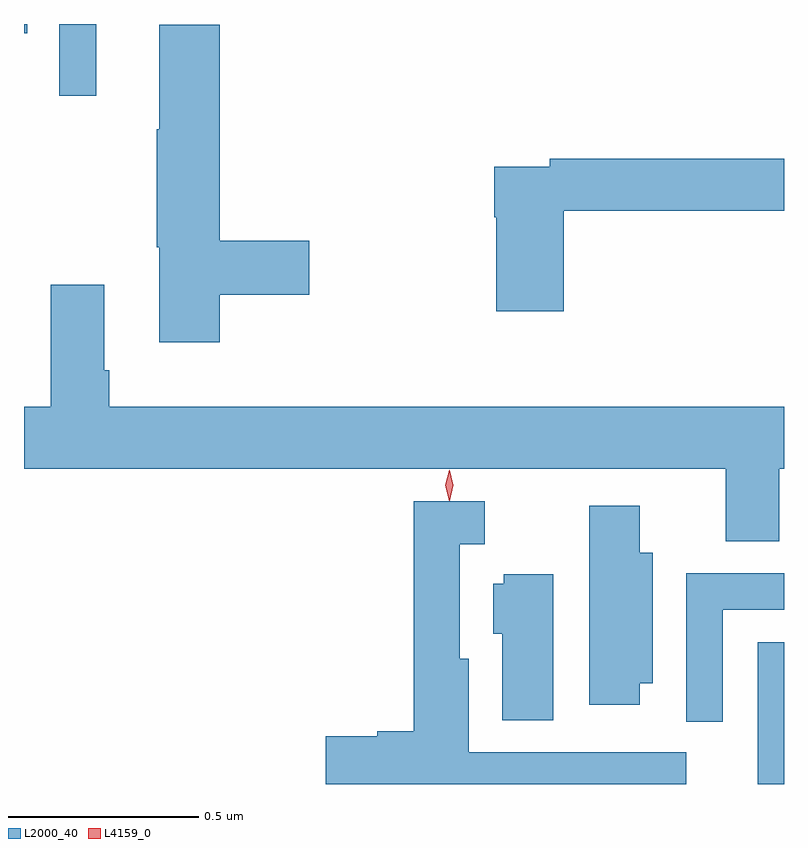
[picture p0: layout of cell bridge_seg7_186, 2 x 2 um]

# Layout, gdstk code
import gdstk
lib = gdstk.Library(unit=1e-6, precision=1e-09)
def R(c, l, rs):  # rectangles x0, y0, x1, y1
    for r in rs: c.add(gdstk.rectangle(r[:2], r[2:], *l))
def P(c, l, *ps):  # polygons
    for p in ps: c.add(gdstk.Polygon(p, *l))
L2000_40 = (2000, 40)
L4159_0 = (4159, 0)

bridge_seg7_186 = lib.new_cell('bridge_seg7_186')
R(bridge_seg7_186, L2000_40, [(447.965,1053.067,448.034,1053.44), (446.127,1054.878,446.224,1055.067), (446.034,1055.043,446.042,1055.067)])
P(bridge_seg7_186, L2000_40, [(446.549,1054.354),(446.785,1054.354),(446.785,1054.496),(446.549,1054.496),(446.549,1055.065),(446.39,1055.065),(446.39,1054.79),(446.383,1054.79),(446.383,1054.479),(446.39,1054.479),(446.39,1054.23),(446.549,1054.23)],
  [(447.455,1054.576),(448.034,1054.576),(448.034,1054.712),(447.418,1054.712),(447.418,1054.692),(447.272,1054.692),(447.272,1054.559),(447.277,1054.559),(447.277,1054.311),(447.455,1054.311)],
  [(446.105,1054.381),(446.105,1054.06),(446.034,1054.06),(446.034,1053.896),(447.881,1053.896),(447.881,1053.706),(448.021,1053.706),(448.021,1053.896),(448.034,1053.896),(448.034,1054.06),(446.258,1054.06),(446.258,1054.156),(446.245,1054.156),(446.245,1054.381)],
  [(447.777,1053.15),(447.205,1053.15),(447.205,1053.396),(447.181,1053.396),(447.181,1053.698),(447.247,1053.698),(447.247,1053.811),(447.06,1053.811),(447.06,1053.206),(446.963,1053.206),(446.963,1053.193),(446.828,1053.193),(446.828,1053.067),(447.777,1053.067)],
  [(447.655,1053.332),(447.688,1053.332),(447.688,1053.676),(447.655,1053.676),(447.655,1053.799),(447.521,1053.799),(447.521,1053.276),(447.655,1053.276)],
  [(447.873,1053.525),(448.034,1053.525),(448.034,1053.621),(447.777,1053.621),(447.777,1053.231),(447.873,1053.231)],
  [(447.427,1053.619),(447.297,1053.619),(447.297,1053.594),(447.269,1053.594),(447.269,1053.462),(447.293,1053.462),(447.293,1053.235),(447.427,1053.235)])
P(bridge_seg7_186, L4159_0, [(447.153,1053.812),(447.153,1053.812),(447.143,1053.853),(447.153,1053.893),(447.153,1053.893),(447.154,1053.893),(447.163,1053.853),(447.154,1053.812)])

lib.write_gds('bridge_seg7_186.gds')
